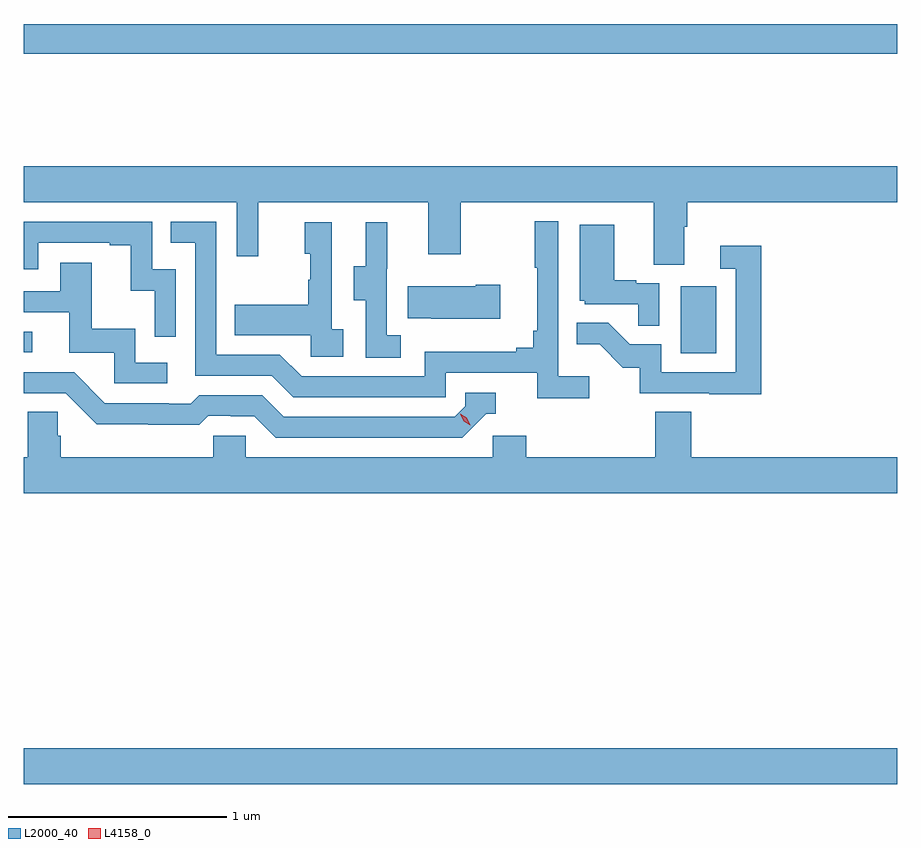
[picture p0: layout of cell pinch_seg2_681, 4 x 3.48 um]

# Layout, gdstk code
import gdstk
lib = gdstk.Library(unit=1e-6, precision=1e-09)
def R(c, l, rs):  # rectangles x0, y0, x1, y1
    for r in rs: c.add(gdstk.rectangle(r[:2], r[2:], *l))
def P(c, l, *ps):  # polygons
    for p in ps: c.add(gdstk.Polygon(p, *l))
L2000_40 = (2000, 40)
L4158_0 = (4158, 0)

pinch_seg2_681 = lib.new_cell('pinch_seg2_681')
R(pinch_seg2_681, L2000_40, [(1090.98,595.688,1094.98,595.852), (1093.988,597.66,1094.152,597.967), (1090.98,597.666,1091.02,597.759), (1090.98,599.032,1094.98,599.168)])
P(pinch_seg2_681, L2000_40, [(1094.005,598.24),(1094.018,598.24),(1094.018,598.352),(1094.98,598.352),(1094.98,598.516),(1090.98,598.516),(1090.98,598.352),(1091.955,598.352),(1091.955,598.104),(1092.053,598.104),(1092.053,598.352),(1092.833,598.352),(1092.833,598.113),(1092.981,598.113),(1092.981,598.352),(1093.865,598.352),(1093.865,598.066),(1094.005,598.066)],
  [(1093.57,597.556),(1093.428,597.556),(1093.428,598.264),(1093.32,598.264),(1093.32,598.051),(1093.331,598.051),(1093.331,597.763),(1093.312,597.763),(1093.312,597.686),(1093.235,597.686),(1093.235,597.667),(1092.816,597.667),(1092.816,597.555),(1092.252,597.555),(1092.153,597.654),(1091.862,597.654),(1091.862,598.263),(1091.653,598.263),(1091.653,598.167),(1091.766,598.167),(1091.766,597.558),(1092.116,597.558),(1092.215,597.459),(1092.912,597.459),(1092.912,597.57),(1093.331,597.57),(1093.331,597.454),(1093.57,597.454)],
  [(1091.676,598.044),(1091.568,598.044),(1091.568,598.263),(1090.98,598.263),(1090.98,598.044),(1091.046,598.044),(1091.046,598.167),(1091.375,598.167),(1091.375,598.155),(1091.471,598.155),(1091.471,597.947),(1091.58,597.947),(1091.58,597.735),(1091.676,597.735)],
  [(1092.442,597.77),(1092.39,597.77),(1092.39,598.261),(1092.266,598.261),(1092.266,598.116),(1092.292,598.116),(1092.292,597.998),(1092.282,597.998),(1092.282,597.883),(1091.947,597.883),(1091.947,597.743),(1092.294,597.743),(1092.294,597.645),(1092.442,597.645)],
  [(1092.706,597.743),(1092.642,597.743),(1092.642,598.047),(1092.644,598.047),(1092.644,598.261),(1092.545,598.261),(1092.545,598.059),(1092.491,598.059),(1092.491,597.904),(1092.546,597.904),(1092.546,597.64),(1092.706,597.64)],
  [(1093.89,597.981),(1093.784,597.981),(1093.784,597.994),(1093.684,597.994),(1093.684,598.249),(1093.526,598.249),(1093.526,597.9),(1093.548,597.9),(1093.548,597.885),(1093.795,597.885),(1093.795,597.787),(1093.89,597.787)],
  [(1094.357,598.153),(1094.169,598.153),(1094.169,598.047),(1094.241,598.047),(1094.241,597.573),(1093.899,597.573),(1093.899,597.702),(1093.755,597.702),(1093.657,597.8),(1093.513,597.8),(1093.513,597.701),(1093.617,597.701),(1093.724,597.594),(1093.801,597.594),(1093.801,597.477),(1094.119,597.477),(1094.119,597.472),(1094.357,597.472)],
  [(1091.638,597.618),(1091.49,597.618),(1091.49,597.772),(1091.291,597.772),(1091.291,598.075),(1091.147,598.075),(1091.147,597.945),(1090.98,597.945),(1090.98,597.849),(1091.189,597.849),(1091.189,597.663),(1091.394,597.663),(1091.394,597.522),(1091.638,597.522)],
  [(1093.162,597.975),(1093.049,597.975),(1093.049,597.967),(1092.739,597.967),(1092.739,597.821),(1092.847,597.821),(1092.847,597.818),(1093.162,597.818)],
  [(1093.098,597.384),(1093.141,597.384),(1093.141,597.48),(1093.002,597.48),(1093.002,597.417),(1092.954,597.369),(1092.171,597.369),(1092.072,597.468),(1091.783,597.468),(1091.744,597.429),(1091.645,597.429),(1091.645,597.432),(1091.352,597.432),(1091.211,597.573),(1090.98,597.573),(1090.98,597.477),(1091.172,597.477),(1091.314,597.335),(1091.55,597.335),(1091.55,597.333),(1091.783,597.333),(1091.825,597.375),(1091.928,597.375),(1091.928,597.372),(1092.035,597.372),(1092.134,597.273),(1092.987,597.273)],
  [(1094.98,597.184),(1094.036,597.184),(1094.036,597.392),(1093.871,597.392),(1093.871,597.184),(1093.28,597.184),(1093.28,597.282),(1093.128,597.282),(1093.128,597.184),(1091.997,597.184),(1091.997,597.282),(1091.847,597.282),(1091.847,597.184),(1091.15,597.184),(1091.15,597.282),(1091.135,597.282),(1091.135,597.392),(1090.998,597.392),(1090.998,597.184),(1090.98,597.184),(1090.98,597.02),(1094.98,597.02)])
P(pinch_seg2_681, L4158_0, [(1093.024,597.33),(1092.994,597.35),(1092.979,597.383),(1092.979,597.384),(1092.979,597.384),(1093.009,597.364),(1093.024,597.331),(1093.024,597.33)])

lib.write_gds('pinch_seg2_681.gds')
